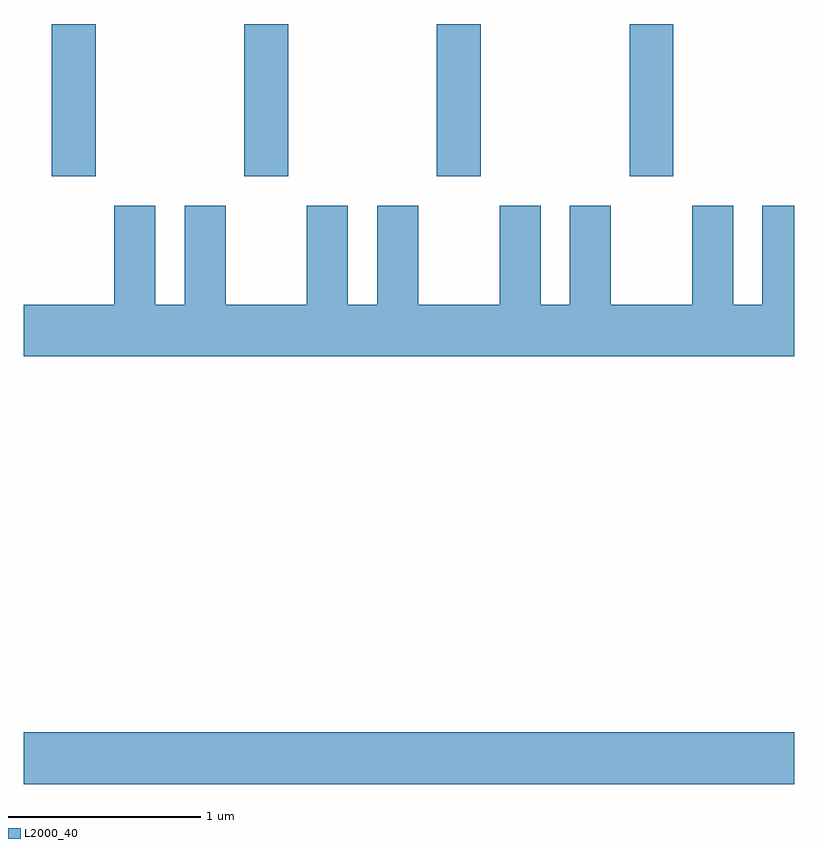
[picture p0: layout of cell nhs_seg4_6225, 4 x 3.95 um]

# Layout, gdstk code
import gdstk
lib = gdstk.Library(unit=1e-6, precision=1e-09)
def R(c, l, rs):  # rectangles x0, y0, x1, y1
    for r in rs: c.add(gdstk.rectangle(r[:2], r[2:], *l))
def A(c, l, x, y, w, h, nx, ny, dx, dy):  # array of equal rectangles
    R(c, l, [(x+i*dx, y+j*dy, x+i*dx+w, y+j*dy+h) for i in range(nx) for j in range(ny)])
def P(c, l, *ps):  # polygons
    for p in ps: c.add(gdstk.Polygon(p, *l))
L2000_40 = (2000, 40)

nhs_seg4_6225 = lib.new_cell('nhs_seg4_6225')
A(nhs_seg4_6225, L2000_40, 367.756, 1331.191, 0.228, 0.791, 4, 1, 1, 0)
R(nhs_seg4_6225, L2000_40, [(367.611,1328.036,371.611,1328.304)])
P(nhs_seg4_6225, L2000_40, [(371.611,1331.039),(371.446,1331.039),(371.446,1330.524),(371.294,1330.524),(371.294,1331.039),(371.081,1331.039),(371.081,1330.524),(370.659,1330.524),(370.659,1331.039),(370.446,1331.039),(370.446,1330.524),(370.294,1330.524),(370.294,1331.039),(370.081,1331.039),(370.081,1330.524),(369.659,1330.524),(369.659,1331.039),(369.446,1331.039),(369.446,1330.524),(369.294,1330.524),(369.294,1331.039),(369.081,1331.039),(369.081,1330.524),(368.659,1330.524),(368.659,1331.039),(368.446,1331.039),(368.446,1330.524),(368.294,1330.524),(368.294,1331.039),(368.081,1331.039),(368.081,1330.524),(367.611,1330.524),(367.611,1330.256),(371.611,1330.256)])

lib.write_gds('nhs_seg4_6225.gds')
